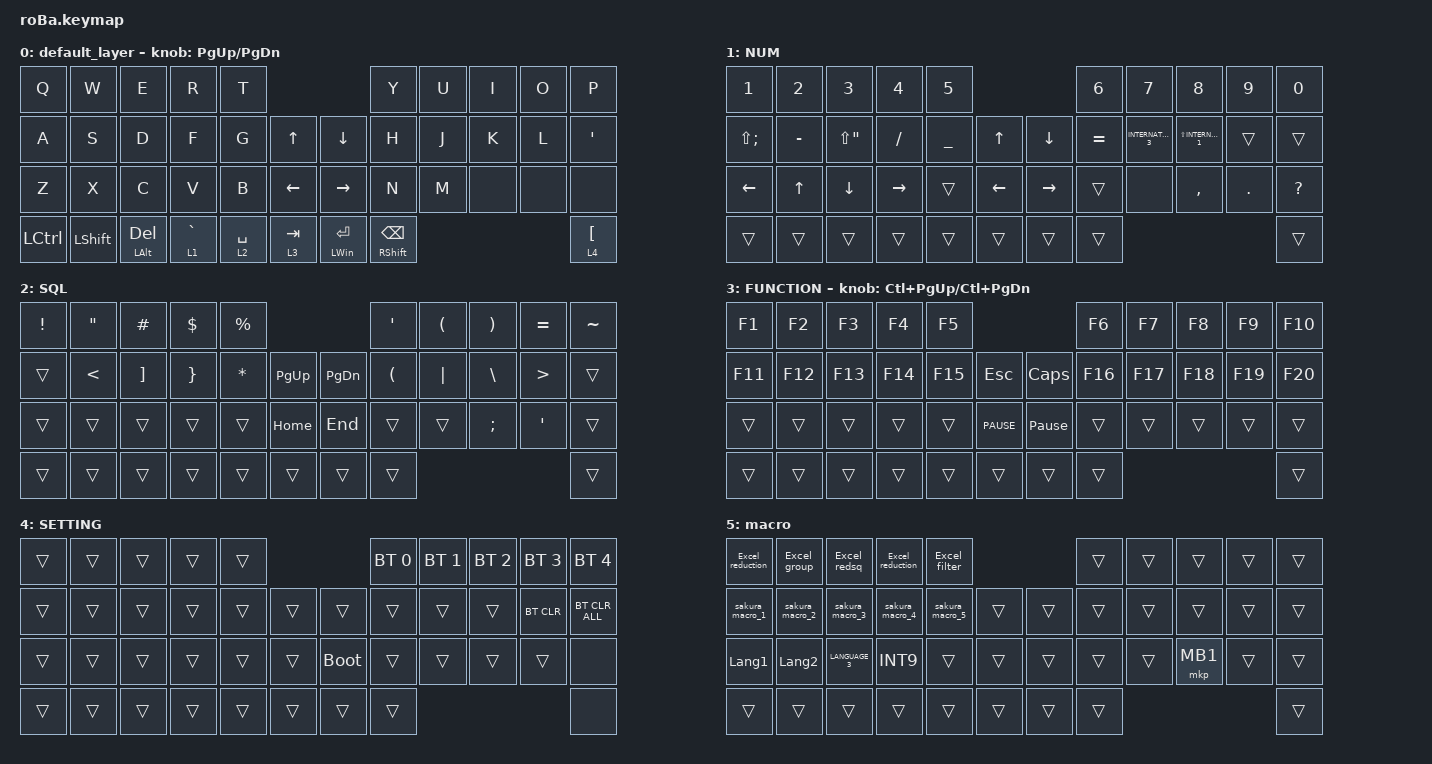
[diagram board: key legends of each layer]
#include <behaviors.dtsi>
#include <dt-bindings/zmk/bt.h>
#include <dt-bindings/zmk/keys.h>
#include <dt-bindings/zmk/pointing.h>

&mt {
    flavor = "balanced";
    quick-tap-ms = <200>;
};

&lt { quick-tap-ms = <200>; };

&trackball {
    // automouse-layer = <4>;

    scroll-layers = <5>;

    // arrows {
    //     layers = <3>;
    //     bindings =
    //         <&kp RIGHT_ARROW>,
    //         <&kp LEFT_ARROW>,
    //         <&kp UP_ARROW>,
    //         <&kp DOWN_ARROW>;
    //     tick = <10>;
    //     wait-ms = <5>;
    //     tap-ms = <5>;
    // };
};

/ {
    combos {
        compatible = "zmk,combos";

        click1 {
            bindings = <&mkp MB1>;
            key-positions = <31 32>;
        };

        click2 {
            bindings = <&mkp MB2>;
            key-positions = <32 33>;
        };

        scroll {
            bindings = <&lt 5 RCTRL>;
            key-positions = <31 33>;
        };

        layer5 {
            bindings = <&lt 5 A>;
            key-positions = <17 21>;
        };

        layer4 {
            bindings = <&lt 4 SPACE>;
            key-positions = <0 4>;
        };
    };

    macros {
        lt_to_layer_0: lt_to_layer_0 {
            compatible = "zmk,behavior-macro";
            #binding-cells = <0>;
            bindings = <&lt 0 A>;
            label = "LT_TO_LAYER_0";
        };

        Excel_reduction: Excell_group {
            compatible = "zmk,behavior-macro";
            #binding-cells = <0>;
            bindings = <&kp LA(Y) &kp N5 &kp Y &kp N8>;
            label = "EXCELL_GROUP";
        };

        Excel_redsq: Excel_redsq {
            compatible = "zmk,behavior-macro";
            #binding-cells = <0>;
            bindings = <&kp LA(Y) &kp N5 &kp Y &kp N1>;
            label = "EXCEL_REDSQ";
        };

        Excel_group: Excel_group {
            compatible = "zmk,behavior-macro";
            #binding-cells = <0>;
            bindings = <&kp LA(J) &kp P &kp A &kp G &kp G>;
            label = "EXCEL_GROUP";
        };

        sakura_macro_1: sakura_macro_1 {
            compatible = "zmk,behavior-macro";
            #binding-cells = <0>;
            bindings = <&kp LA(T) &kp T &kp B &kp ENTER>;
            label = "SAKURA_MACRO_1";
        };

        sakura_macro_2: sakura_macro_2 {
            compatible = "zmk,behavior-macro";
            #binding-cells = <0>;
            bindings = <&kp LA(T) &kp T &kp B &kp DOWN_ARROW &kp ENTER>;
            label = "SAKURA_MACRO_2";
        };

        sakura_macro_3: sakura_macro_3 {
            compatible = "zmk,behavior-macro";
            #binding-cells = <0>;
            bindings = <&kp LA(T) &kp T &kp B &kp DOWN_ARROW &kp DOWN_ARROW &kp ENTER>;
            label = "SAKURA_MACRO_3";
        };

        sakura_macro_4: sakura_macro_4 {
            compatible = "zmk,behavior-macro";
            #binding-cells = <0>;
            bindings = <&kp LA(T) &kp T &kp B &kp DOWN_ARROW &kp DOWN_ARROW &kp DOWN_ARROW &kp ENTER>;
            label = "SAKURA_MACRO_4";
        };

        sakura_macro_5: sakura_macro_5 {
            compatible = "zmk,behavior-macro";
            #binding-cells = <0>;
            bindings = <&kp LA(T) &kp T &kp B &kp DOWN_ARROW &kp DOWN_ARROW &kp DOWN_ARROW &kp DOWN_ARROW &kp ENTER>;
            label = "SAKURA_MACRO_5";
        };

        Excel_filter: Excel_filter {
            compatible = "zmk,behavior-macro";
            #binding-cells = <0>;
            bindings = <&kp LC(LS(RIGHT_ARROW)) &kp RA(A) &kp T>;
            label = "EXCEL_FILTER";
        };
    };

    behaviors {
        new_behavior: new_behavior {
            compatible = "zmk,behavior-toggle-layer";
            label = "NEW_BEHAVIOR";
            #binding-cells = <1>;
        };
    };

    keymap {
        compatible = "zmk,keymap";

        default_layer {
            bindings = <
&kp Q      &kp W           &kp E             &kp R        &kp T                                           &kp Y                      &kp U  &kp I  &kp O  &kp P
&kp A      &kp S           &kp D             &kp F        &kp G        &kp UP         &kp DOWN            &kp H                      &kp J  &kp K  &kp L  &kp SQT
&kp Z      &kp X           &kp C             &kp V        &kp B        &kp LEFT       &kp RIGHT           &kp N                      &kp M  &none  &none  &none
&kp LCTRL  &kp LEFT_SHIFT  &mt LEFT_ALT DEL  &lt 1 GRAVE  &lt 2 SPACE  &lt 3 TAB      &mt LEFT_WIN ENTER  &mt RIGHT_SHIFT BACKSPACE                       &lt 4 LEFT_BRACKET
            >;

            sensor-bindings = <&inc_dec_kp PG_UP PAGE_DOWN>;
        };

        NUM {
            bindings = <
&kp NUMBER_1    &kp NUMBER_2  &kp NUMBER_3           &kp NUMBER_4  &kp N5                                  &kp NUMBER_6  &kp N7               &kp N8                   &kp N9      &kp N0
&kp LS(SEMI)    &kp MINUS     &kp LS(DOUBLE_QUOTES)  &kp SLASH     &kp UNDER  &kp UP_ARROW      &kp DOWN   &kp EQUAL     &kp INTERNATIONAL_3  &kp LS(INTERNATIONAL_1)  &trans      &trans
&kp LEFT_ARROW  &kp UP_ARROW  &kp DOWN_ARROW         &kp RIGHT     &trans     &kp LEFT          &kp RIGHT  &trans        &none                &kp COMMA                &kp PERIOD  &kp QUESTION
&trans          &trans        &trans                 &trans        &trans     &trans            &trans     &trans                                                                  &trans
            >;
        };

        SQL {
            bindings = <
&kp EXCLAMATION  &kp DOUBLE_QUOTES  &kp HASH           &kp DOLLAR       &kp PERCENT                                   &kp SQT               &kp LEFT_PARENTHESIS  &kp RIGHT_PARENTHESIS  &kp EQUAL         &kp TILDE
&trans           &kp LESS_THAN      &kp RIGHT_BRACKET  &kp RIGHT_BRACE  &kp ASTERISK  &kp PAGE_UP      &kp PAGE_DOWN  &kp LEFT_PARENTHESIS  &kp PIPE              &kp BACKSLASH          &kp GREATER_THAN  &trans
&trans           &trans             &trans             &trans           &trans        &kp HOME         &kp END        &trans                &trans                &kp SEMICOLON          &kp SQT           &trans
&trans           &trans             &trans             &trans           &trans        &trans           &trans         &trans                                                                               &trans
            >;
        };

        FUNCTION {
            bindings = <
&kp F1   &kp F2   &kp F3   &kp F4   &kp F5                                     &kp F6   &kp F7   &kp F8   &kp F9   &kp F10
&kp F11  &kp F12  &kp F13  &kp F14  &kp F15  &kp ESC          &kp CAPSLOCK     &kp F16  &kp F17  &kp F18  &kp F19  &kp F20
&trans   &trans   &trans   &trans   &trans   &kp C_PAUSE      &kp PAUSE_BREAK  &trans   &trans   &trans   &trans   &trans
&trans   &trans   &trans   &trans   &trans   &trans           &trans           &trans                              &trans
            >;

            sensor-bindings = <&inc_dec_kp LC(PAGE_UP) LC(PAGE_DOWN)>;
            label = "FUNCTION";
        };

        SETTING {
            bindings = <
&trans  &trans  &trans  &trans  &trans                           &bt BT_SEL 0  &bt BT_SEL 1  &bt BT_SEL 2  &bt BT_SEL 3  &bt BT_SEL 4
&trans  &trans  &trans  &trans  &trans  &trans      &trans       &trans        &trans        &trans        &bt BT_CLR    &bt BT_CLR_ALL
&trans  &trans  &trans  &trans  &trans  &trans      &bootloader  &trans        &trans        &trans        &trans        &none
&trans  &trans  &trans  &trans  &trans  &trans      &trans       &trans                                                  &none
            >;
        };

        macro {
            bindings = <
&Excel_reduction  &Excel_group     &Excel_redsq     &Excel_reduction  &Excel_filter                        &trans  &trans  &trans    &trans  &trans
&sakura_macro_1   &sakura_macro_2  &sakura_macro_3  &sakura_macro_4   &sakura_macro_5  &trans      &trans  &trans  &trans  &trans    &trans  &trans
&kp LANGUAGE_1    &kp LANGUAGE_2   &kp LANGUAGE_3   &kp INT9          &trans           &trans      &trans  &trans  &trans  &mkp MB1  &trans  &trans
&trans            &trans           &trans           &trans            &trans           &trans      &trans  &trans                            &trans
            >;
        };
    };
};
